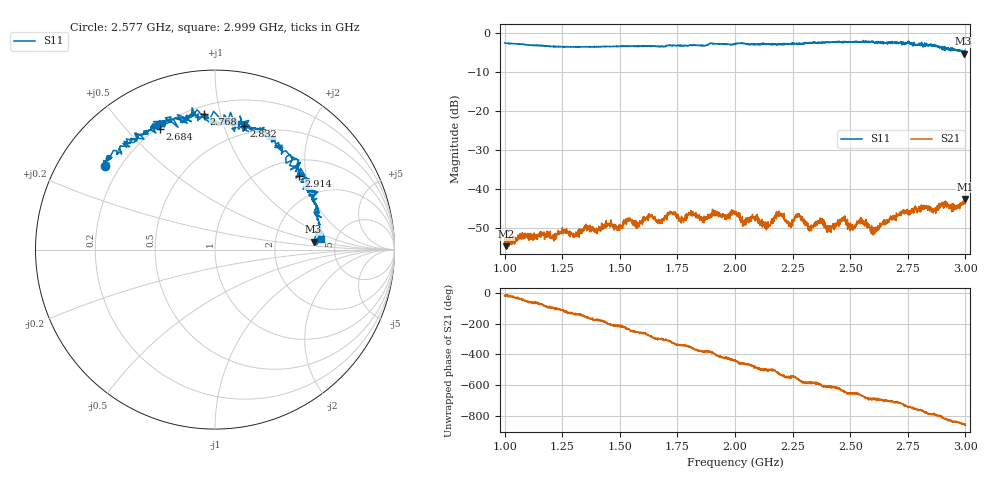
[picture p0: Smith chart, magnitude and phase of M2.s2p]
# HZ S RI R 50
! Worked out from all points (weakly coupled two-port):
!   2020 points, 1 GHz to 3 GHz, reference 50 ohm
!   highest |S21| = -42.60 dB at 2.998 GHz (marker M1); lowest = -54.7 dB at 1.005 GHz (marker M2)
!   lowest |S11| = -5.2 dB at 2.992 GHz (marker M3), VSWR 3.46, Z = 170 + j21.6 ohm
!   |S11| at or under -10 dB: nowhere
!   S12 and S22 are empty: the file has one direction only
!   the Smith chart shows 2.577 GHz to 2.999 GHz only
!   S11 on the Smith chart (normalised r, x): 2.577 GHz: 0.15, +0.33; 2.684 GHz: 0.21, +0.62; 2.768 GHz: 0.25, +0.89; 2.832 GHz: 0.43, +1.17; 2.914 GHz: 1.35, +1.81; 2.999 GHz: 3.81, +0.70
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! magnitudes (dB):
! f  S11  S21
! 1 GHz  -2.4  -53.3
! 1.005 GHz  -2.5  -54.7
! 1.334 GHz  -3.4  -50.9
! 1.668 GHz  -3.4  -47.8
! 1.724 GHz  -3.0  -46.1
! 2 GHz  -2.6  -46.6
! 2.14 GHz  -2.7  -49.9
! 2.185 GHz  -3.0  -46.4
! 2.237 GHz  -2.6  -48.7
! 2.274 GHz  -2.6  -46.4
! 2.334 GHz  -2.4  -49.4
! 2.469 GHz  -2.3  -48.2
! 2.577 GHz  -2.3  -48.9
! 2.667 GHz  -2.3  -48.1
! 2.684 GHz  -2.6  -46.9
! 2.768 GHz  -2.4  -45.1
! 2.832 GHz  -3.0  -44.7
! 2.914 GHz  -4.1  -44.0
! 2.992 GHz  -5.2  -44.0
! 2.998 GHz  -5.0  -42.6
! 2.999 GHz  -4.5  -43.0
! 3 GHz  -4.9  -43.8
